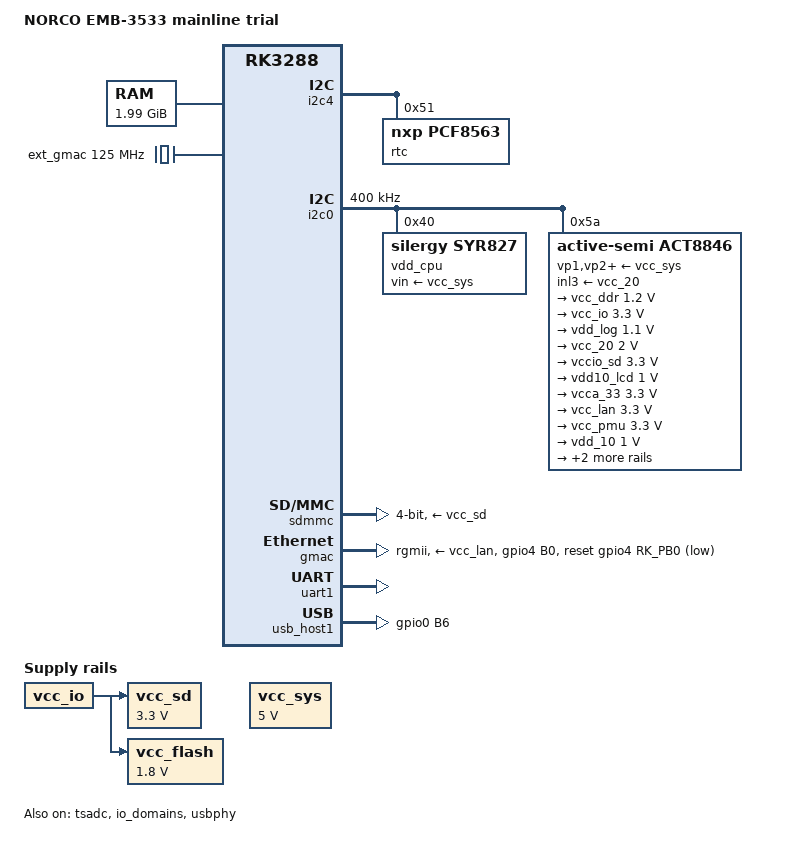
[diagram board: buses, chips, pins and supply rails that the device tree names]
// SPDX-License-Identifier: GPL-2.0-or-later
// Experimental CLI-only DT; electrical values copied from this board's running DT.
/dts-v1/;
#include "rk3288.dtsi"
/ {
 model = "NORCO EMB-3533 mainline trial";
 compatible = "norco,emb3533", "rockchip,rk3288";
 memory@0 { device_type = "memory"; reg = <0 0 0 0x08400000>, <0 0x09200000 0 0x76e00000>; };
 reserved-memory {
  #address-cells = <2>; #size-cells = <2>; ranges;
  ramoops@8000000 { compatible = "ramoops"; reg = <0 0x08000000 0 0x000f0000>; record-size = <0x20000>; console-size = <0x80000>; pmsg-size = <0x50000>; };
 };
 chosen { stdout-path = "serial1:115200n8"; };
 psci { compatible = "arm,psci-1.0"; method = "smc"; };
 vcc_sys: regulator-vcc-sys { compatible = "regulator-fixed"; regulator-name = "vcc_sys"; regulator-min-microvolt = <5000000>; regulator-max-microvolt = <5000000>; regulator-always-on; regulator-boot-on; };
 vcc_sd: regulator-vcc-sd { compatible = "regulator-fixed"; regulator-name = "vcc_sd"; regulator-min-microvolt = <3300000>; regulator-max-microvolt = <3300000>; regulator-always-on; regulator-boot-on; vin-supply = <&vcc_io>; startup-delay-us = <100000>; };
 vcc_flash: regulator-vcc-flash { compatible = "regulator-fixed"; regulator-name = "vcc_flash"; regulator-min-microvolt = <1800000>; regulator-max-microvolt = <1800000>; regulator-always-on; vin-supply = <&vcc_io>; };
 ext_gmac: external-gmac-clock { compatible = "fixed-clock"; #clock-cells = <0>; clock-frequency = <125000000>; clock-output-names = "ext_gmac"; };
};
&cpu0 { enable-method = "psci"; };
&cpu1 { enable-method = "psci"; };
&cpu2 { enable-method = "psci"; };
&cpu3 { enable-method = "psci"; };
// RTC CLKOUT supplies the real xin32k source used by TSADC. A fixed-clock
// declaration alone cannot enable this board's physical clock output.
&i2c4 {
 status = "okay";
 rtc: rtc@51 {
  compatible = "nxp,pcf8563";
  reg = <0x51>;
  #clock-cells = <0>;
  clock-output-names = "xin32k";
 };
};
&tsadc {
 status = "okay";
 // Explicit provider dependency defers TSADC until RTC CLKOUT is registered.
 assigned-clocks = <&rtc>, <&cru SCLK_TSADC>;
 assigned-clock-rates = <32768>, <5000>;
 pinctrl-0 = <&otp_pin>;
 pinctrl-1 = <&otp_pin>;
 pinctrl-2 = <&otp_pin>;
 rockchip,hw-tshut-mode = <0>; // CRU reset, matching vendor wiring
 rockchip,hw-tshut-polarity = <1>;
 rockchip,hw-tshut-temp = <95000>;
};
&i2c0 {
 status = "okay"; clock-frequency = <400000>;
 vdd_cpu: regulator@40 {
  compatible = "silergy,syr827";
  reg = <0x40>;
  fcs,suspend-voltage-selector = <1>;
  regulator-name = "vdd_cpu";
  regulator-min-microvolt = <850000>;
  regulator-max-microvolt = <1350000>;
  regulator-always-on;
  regulator-boot-on;
  regulator-enable-ramp-delay = <300>;
  regulator-ramp-delay = <8000>;
  vin-supply = <&vcc_sys>;
 };
 act8846: pmic@5a {
  compatible = "active-semi,act8846"; reg = <0x5a>;
  vp1-supply = <&vcc_sys>; vp2-supply = <&vcc_sys>; vp3-supply = <&vcc_sys>; vp4-supply = <&vcc_sys>;
  inl1-supply = <&vcc_sys>; inl2-supply = <&vcc_sys>; inl3-supply = <&vcc_20>;
  regulators {
   vcc_ddr: REG1 { regulator-name = "vcc_ddr"; regulator-min-microvolt = <1200000>; regulator-max-microvolt = <1200000>; regulator-always-on; regulator-boot-on; };
   vcc_io: REG2 { regulator-name = "vcc_io"; regulator-min-microvolt = <3300000>; regulator-max-microvolt = <3300000>; regulator-always-on; regulator-boot-on; };
   vdd_log: REG3 { regulator-name = "vdd_log"; regulator-min-microvolt = <1100000>; regulator-max-microvolt = <1100000>; regulator-always-on; regulator-boot-on; };
   vcc_20: REG4 { regulator-name = "vcc_20"; regulator-min-microvolt = <2000000>; regulator-max-microvolt = <2000000>; regulator-always-on; regulator-boot-on; };
   vccio_sd: REG5 { regulator-name = "vccio_sd"; regulator-min-microvolt = <3300000>; regulator-max-microvolt = <3300000>; regulator-always-on; regulator-boot-on; };
   vdd10_lcd: REG6 { regulator-name = "vdd10_lcd"; regulator-min-microvolt = <1000000>; regulator-max-microvolt = <1000000>; regulator-always-on; regulator-boot-on; };
   vcca_33: REG7 { regulator-name = "vcca_33"; regulator-min-microvolt = <3300000>; regulator-max-microvolt = <3300000>; regulator-always-on; regulator-boot-on; };
   vcc_lan: REG8 { regulator-name = "vcc_lan"; regulator-min-microvolt = <3300000>; regulator-max-microvolt = <3300000>; regulator-always-on; regulator-boot-on; };
   vcc_pmu: REG9 { regulator-name = "vcc_pmu"; regulator-min-microvolt = <3300000>; regulator-max-microvolt = <3300000>; regulator-always-on; regulator-boot-on; };
   vdd_10: REG10 { regulator-name = "vdd_10"; regulator-min-microvolt = <1000000>; regulator-max-microvolt = <1000000>; regulator-always-on; regulator-boot-on; };
   vcc_18: REG11 { regulator-name = "vcc_18"; regulator-min-microvolt = <1800000>; regulator-max-microvolt = <1800000>; regulator-always-on; regulator-boot-on; };
   vcc18_lcd: REG12 { regulator-name = "vcc18_lcd"; regulator-min-microvolt = <1800000>; regulator-max-microvolt = <1800000>; regulator-always-on; regulator-boot-on; };
  };
 };
};
// The vendor firmware protects timer6/7 at ff810000. Its original DT uses timer0.
&timer { status = "disabled"; };
/ {
 timer0_ns: timer@ff6b0000 {
  compatible = "rockchip,rk3288-timer";
  reg = <0 0xff6b0000 0 0x20>;
  interrupts = <GIC_SPI 66 IRQ_TYPE_LEVEL_HIGH>;
  clocks = <&cru PCLK_TIMER>, <&xin24m>;
  clock-names = "pclk", "timer";
 };
};
&sdmmc {
 status = "okay"; bus-width = <4>; cap-sd-highspeed; disable-wp; no-1-8-v;
 max-frequency = <50000000>; card-detect-delay = <200>;
 vmmc-supply = <&vcc_sd>; vqmmc-supply = <&vccio_sd>;
 pinctrl-names = "default"; pinctrl-0 = <&sdmmc_clk &sdmmc_cmd &sdmmc_cd &sdmmc_bus4>;
};
&emmc { status = "disabled"; };
&io_domains {
 status = "okay"; audio-supply = <&vcca_33>; bb-supply = <&vcc_io>;
 flash0-supply = <&vcc_flash>; flash1-supply = <&vcc_lan>;
 gpio30-supply = <&vcc_io>; gpio1830-supply = <&vcc_io>; lcdc-supply = <&vcc_io>; sdcard-supply = <&vccio_sd>;
};
&gmac {
 status = "okay"; phy-mode = "rgmii"; clock_in_out = "input";
 assigned-clocks = <&cru SCLK_MAC>; assigned-clock-parents = <&ext_gmac>;
 phy-supply = <&vcc_lan>;
 snps,reset-gpio = <&gpio4 RK_PB0 GPIO_ACTIVE_LOW>; snps,reset-active-low;
 snps,reset-delays-us = <0 10000 1000000>; tx_delay = <0x17>; rx_delay = <0x17>;
 pinctrl-names = "default"; pinctrl-0 = <&rgmii_pins &phy_rst>;
};
&pinctrl {
 gmac { phy_rst: phy-rst { rockchip,pins = <4 RK_PB0 RK_FUNC_GPIO &pcfg_pull_none>; }; };
};
&uart1 { status = "okay"; };

// The on-board RTL8188EU is behind the seven-port hub on USB host1.
// Match the vendor hub reset: GPIO0_B6 stays high after pin configuration.
&usbphy { status = "okay"; };
&usb_host1 {
	status = "okay";
	pinctrl-names = "default";
	pinctrl-0 = <&usb_hub_reset>;
};
&pinctrl {
	usb_hub_output_high: usb-hub-output-high { output-high; };
	usb-host1 {
		usb_hub_reset: usb-hub-reset {
			rockchip,pins = <0 RK_PB6 RK_FUNC_GPIO &usb_hub_output_high>;
		};
	};
};

// Match the vendor firmware's nonsecure DMA alias. Secure efuse is not needed
// for this CLI configuration (no fuse-based voltage binning is used).
&dmac_bus_s { status = "disabled"; };
&dmac_bus_ns { status = "okay"; };
&efuse { status = "disabled"; };

// Vendor L0 voltages; schedutil may use up to 1.608 GHz for short work.
// Keep the thermal cooling maps active; sustained load can reduce the rate.
&cpu0 { cpu-supply = <&vdd_cpu>; };
&cpu_opp_table {
 /delete-node/ opp-312000000;
 opp-126000000 { opp-microvolt = <950000>; };
 opp-216000000 { opp-microvolt = <950000>; };
 opp-408000000 { opp-microvolt = <975000>; };
 opp-600000000 { opp-microvolt = <975000>; };
 opp-696000000 { opp-microvolt = <975000>; };
 opp-816000000 { opp-microvolt = <1075000>; };
 opp-1008000000 { opp-microvolt = <1150000>; clock-latency-ns = <40000>; };
 opp-1200000000 { opp-microvolt = <1200000>; clock-latency-ns = <40000>; };
 opp-1416000000 { opp-microvolt = <1300000>; clock-latency-ns = <40000>; };
 opp-1512000000 { opp-microvolt = <1350000>; clock-latency-ns = <40000>; };
 opp-1608000000 { opp-microvolt = <1350000>; clock-latency-ns = <40000>; };
};
// Let cooling use the actual OPP count rather than a fixed state limit.
&cpu_thermal {
 cooling-maps {
  map0 { cooling-device = <&cpu0 THERMAL_NO_LIMIT THERMAL_NO_LIMIT>; };
  map1 { cooling-device = <&cpu0 THERMAL_NO_LIMIT THERMAL_NO_LIMIT>; };
 };
};
